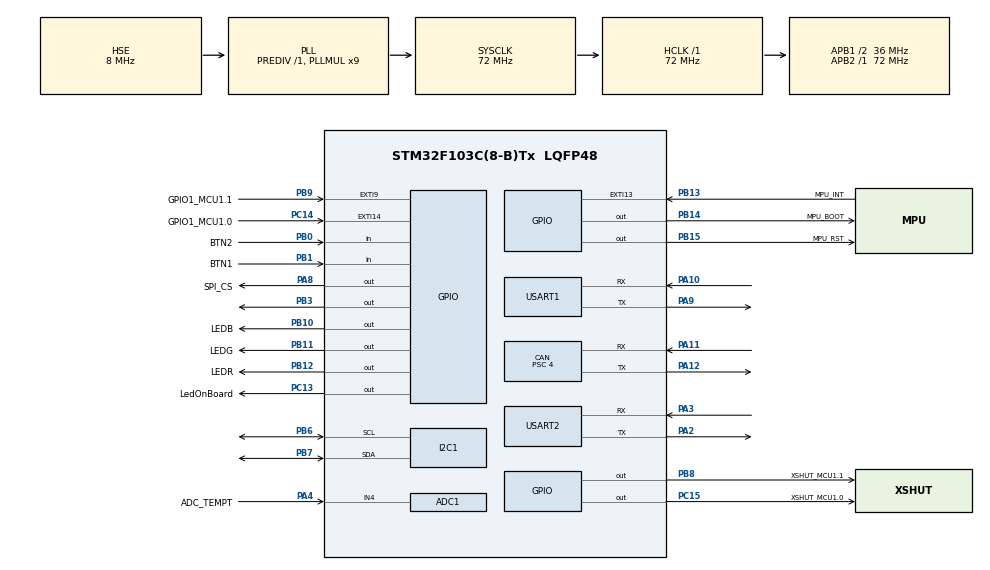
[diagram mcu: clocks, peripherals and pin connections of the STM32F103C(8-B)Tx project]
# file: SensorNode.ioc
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ADC1.Channel-2\#ChannelRegularConversion=ADC_CHANNEL_4
ADC1.NbrOfConversionFlag=1
ADC1.Rank-2\#ChannelRegularConversion=1
ADC1.SamplingTime-2\#ChannelRegularConversion=ADC_SAMPLETIME_1CYCLE_5
ADC1.master=1
CAN.BS1=CAN_BS1_13TQ
CAN.BS2=CAN_BS2_4TQ
CAN.CalculateBaudRate=500000
CAN.CalculateTimeBit=2000
CAN.CalculateTimeQuantum=111.11111111111111
CAN.Prescaler=4
CAN.SJW=CAN_SJW_2TQ
Mcu.Family=STM32F1
Mcu.Name=STM32F103C(8-B)Tx
Mcu.Package=LQFP48
NVIC.CAN1_RX1_IRQn=true\:0\:0\:false\:false\:true\:true\:true\:true
NVIC.PriorityGroup=NVIC_PRIORITYGROUP_4
NVIC.TIM3_IRQn=true\:0\:0\:false\:false\:true\:true\:true\:true
PA10.Mode=Asynchronous
PA10.Signal=USART1_RX
PA11.Mode=CAN_Activate
PA11.Signal=CAN_RX
PA12.Mode=CAN_Activate
PA12.Signal=CAN_TX
PA2.Mode=Asynchronous
PA2.Signal=USART2_TX
PA3.Mode=Asynchronous
PA3.Signal=USART2_RX
PA4.GPIO_Label=ADC_TEMPT
PA4.Signal=SharedAnalog_PA4
PA8.GPIO_Label=SPI_CS
PA8.Signal=GPIO_Output
PA9.Mode=Asynchronous
PA9.Signal=USART1_TX
PB0.GPIO_Label=BTN2
PB0.Signal=GPIO_Input
PB1.GPIO_Label=BTN1
PB1.Signal=GPIO_Input
PB10.GPIO_Label=LEDB
PB10.PinState=GPIO_PIN_SET
PB10.Signal=GPIO_Output
PB11.GPIO_Label=LEDG
PB11.PinState=GPIO_PIN_SET
PB11.Signal=GPIO_Output
PB12.GPIO_Label=LEDR
PB12.PinState=GPIO_PIN_SET
PB12.Signal=GPIO_Output
PB13.GPIO_Label=MPU_INT
PB13.Signal=GPXTI13
PB14.GPIO_Label=MPU_BOOT
PB14.Signal=GPIO_Output
PB15.GPIO_Label=MPU_RST
PB15.Signal=GPIO_Output
PB3.PinState=GPIO_PIN_SET
PB3.Signal=GPIO_Output
PB6.Mode=I2C
PB6.Signal=I2C1_SCL
PB7.Mode=I2C
PB7.Signal=I2C1_SDA
PB8.GPIO_Label=XSHUT_MCU1.1
PB8.PinState=GPIO_PIN_SET
PB8.Signal=GPIO_Output
PB9.GPIO_Label=GPIO1_MCU1.1
PB9.Signal=GPXTI9
PC13-TAMPER-RTC.GPIO_Label=LedOnBoard
PC13-TAMPER-RTC.PinState=GPIO_PIN_SET
PC13-TAMPER-RTC.Signal=GPIO_Output
PC14-OSC32_IN.GPIO_Label=GPIO1_MCU1.0
PC14-OSC32_IN.Signal=GPXTI14
PC15-OSC32_OUT.GPIO_Label=XSHUT_MCU1.0
PC15-OSC32_OUT.PinState=GPIO_PIN_SET
PC15-OSC32_OUT.Signal=GPIO_Output
PD0-OSC_IN.Mode=HSE-External-Oscillator
PD0-OSC_IN.Signal=RCC_OSC_IN
PD1-OSC_OUT.Mode=HSE-External-Oscillator
PD1-OSC_OUT.Signal=RCC_OSC_OUT
ProjectManager.HeapSize=0x200
ProjectManager.StackSize=0x400
ProjectManager.TargetToolchain=STM32CubeIDE
RCC.ADCPresc=RCC_ADCPCLK2_DIV6
RCC.AHBFreq_Value=72000000
RCC.APB1CLKDivider=RCC_HCLK_DIV2
RCC.APB1Freq_Value=36000000
RCC.APB1TimFreq_Value=72000000
RCC.APB2Freq_Value=72000000
RCC.APB2TimFreq_Value=72000000
RCC.HCLKFreq_Value=72000000
RCC.PLLMUL=RCC_PLL_MUL9
RCC.PLLSourceVirtual=RCC_PLLSOURCE_HSE
RCC.SYSCLKFreq_VALUE=72000000
RCC.SYSCLKSource=RCC_SYSCLKSOURCE_PLLCLK
RCC.USBFreq_Value=72000000
SH.SharedAnalog_PA4.0=GPIO_Analog
SH.SharedAnalog_PA4.1=ADC1_IN4,IN4
TIM3.Period=199
TIM3.Prescaler=35999
USART1.VirtualMode=VM_ASYNC
USART2.VirtualMode=VM_ASYNC
VP_TIM3_VS_ClockSourceINT.Mode=Internal
board=custom

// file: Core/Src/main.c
/* USER CODE BEGIN Header */
/**
 ******************************************************************************
 * @file           : main.c
 * @brief          : Main program body
 ******************************************************************************
 * @attention
 *
 * Copyright (c) 2023 STMicroelectronics.
 * All rights reserved.
 *
 * This software is licensed under terms that can be found in the LICENSE file
 * in the root directory of this software component.
 * If no LICENSE file comes with this software, it is provided AS-IS.
 *
 ******************************************************************************
 */
/* USER CODE END Header */
#include "main.h"

/* USER CODE BEGIN Includes */
#include "uart.h"
#include "can_project_sensor.h"
#include "VL53L0X.h"
/* USER CODE END Includes */

/* USER CODE BEGIN PM */
#define VL53L0X
// #define VL6180X_SECOND
/* USER CODE END PM */

ADC_HandleTypeDef hadc1;

CAN_HandleTypeDef hcan;

I2C_HandleTypeDef hi2c1;

TIM_HandleTypeDef htim3;

UART_HandleTypeDef huart1;
UART_HandleTypeDef huart2;

/* USER CODE BEGIN PV */

/* CAN Tx variables */
const uint8_t first_value = 0x01;
const uint8_t second_value = 0x02;
CAN_TxHeaderTypeDef CANTxHeader;
uint8_t CANTxBuffer[] = {0x01, 0x02, 0x00, 0x00, 0x00, 0x00, 0x00, 0x00};
uint32_t CANTxMailboxes = CAN_TX_MAILBOX0;
/* CAN Rx variables */
extern uint8_t CANRxBuffer[];
extern uint8_t CANDiagnosticResponseRcvFlag;
extern CAN_RxHeaderTypeDef CANRxHeader;
CANSensorData CANTxData;
uint8_t last_seq = 0, cur_seq;
uint16_t left_dis = 0, right_dis = 0;
const uint16_t forward_threshold = 1100;
const uint16_t turn_threshold = 600;
const uint16_t diff_LeftRight = 100;
extern uint8_t CANDataRcvFlag;
extern uint32_t timeElapsed;
uint8_t dif = 5;
uint8_t cur_speed = CAN_SPEED_MIN;
uint8_t urgent_out = 0;
uint8_t step = 0;
uint8_t temp = 0;
CONTROL_DIRECTION_2 direction2;
VL53L0X_t lox1;
VL53L0X_t lox2;

void init2Sensor(VL53L0X_t *lox1, VL53L0X_t *lox2, I2C_HandleTypeDef *i2cx);

int timeCountTest = 0;
/* USER CODE END PV */

void SystemClock_Config(void);
static void MX_GPIO_Init(void);
static void MX_ADC1_Init(void);
static void MX_CAN_Init(void);
static void MX_I2C1_Init(void);
static void MX_USART1_UART_Init(void);
static void MX_USART2_UART_Init(void);
static void MX_TIM3_Init(void);

int main(void)
{

  /* MCU Configuration--------------------------------------------------------*/

  /* Reset of all peripherals, Initializes the Flash interface and the Systick. */
  HAL_Init();

  /* Configure the system clock */
  SystemClock_Config();

  /* Initialize all configured peripherals */
  MX_GPIO_Init();
  MX_ADC1_Init();
  MX_CAN_Init();
  MX_I2C1_Init();
  MX_USART1_UART_Init();
  MX_USART2_UART_Init();
  MX_TIM3_Init();
  /* USER CODE BEGIN 2 */
  HAL_TIM_Base_Start_IT(&htim3);
  if (HAL_CAN_Start(&hcan) != HAL_OK)
  {
    Error_Handler();
  }
  HAL_CAN_ActivateNotification(&hcan, CAN_IT_RX_FIFO1_MSG_PENDING);

  printf("Sensor\n");
  // Sensor
  init2Sensor(&lox1, &lox2, &hi2c1);

  // End sensor

  /* USER CODE END 2 */

  /* Infinite loop */
  /* USER CODE BEGIN WHILE */
  while (1)
  {
    left_dis = readRangeSingleMillimeters(&lox2);
    right_dis = readRangeSingleMillimeters(&lox1);
    CANTxData.sequence++;
    CANTxData.priority = CONTROL_PRIOR_NORMAL;
    if (CANDataRcvFlag == 1) // timeout
    {
      CANDataRcvFlag = 0;
      cur_seq = CANRxBuffer[CAN_DATA_SEQ_IDX] << 8 |
                CANRxBuffer[CAN_DATA_SEQ_IDX + 1];
      cur_speed = CANRxBuffer[CAN_ACTUATOR_DATA_SPEED_IDX];
      if (cur_seq == last_seq)
      {
        // do nothing
      }
      else
      {
        HAL_GPIO_TogglePin(GPIO_Port, LEDG_Pin);
        HAL_GPIO_TogglePin(GPIO_Port, LEDB_Pin);
        CANResponseCheck();
        if (urgent_out == 1)
		{
        	if (left_dis <= forward_threshold || right_dis <= forward_threshold)
        	{
        		CANTxData.priority = CONTROL_PRIOR_NORMAL;
				CANTxData.speed = CAN_SPEED_NORMAL;
				CANTxData.direction1 = CONTROL_DIR_BACKWARD;
				CANTxData.direction2 = direction2;
        	}
        	else
        	{
        		urgent_out = 0;
        	}
        	temp = 0;
		}
        else if (left_dis < turn_threshold && right_dis < turn_threshold)
        {
        	if (left_dis < right_dis)
        	{
        		direction2 = CONTROL_DIR_LEFT;
        	}
        	else
        	{
        		direction2 = CONTROL_DIR_RIGHT;
        	}
        	if (cur_speed > CAN_SPEED_MIN)
        	{
				CANTxData.priority = CONTROL_PRIOR_URGENT;
				CANTxData.speed = CAN_SPEED_NORMAL;
				CANTxData.direction1 = CONTROL_DIR_BACKWARD;
        	}
        	else
        	{
        		urgent_out = 1;
        	}
        	temp = 1;
        }
        else if (left_dis >= forward_threshold && right_dis >= forward_threshold) // go Straight
        {
          CANTxData.priority = CONTROL_PRIOR_NORMAL;
          CANTxData.speed = CAN_SPEED_NORMAL;
          CANTxData.direction1 = CONTROL_DIR_FORWARD;
		  CANTxData.direction2 = CONTROL_DIR_STRAIGHT;
      	temp = 2;
        }
        else if (((left_dis - right_dis) > diff_LeftRight) && (right_dis < 900))
        {
          CANTxData.priority = CONTROL_PRIOR_NORMAL;
          CANTxData.speed = CAN_SPEED_NORMAL;
          CANTxData.direction1 = CONTROL_DIR_FORWARD;
		  CANTxData.direction2 = CONTROL_DIR_LEFT;
      	temp = 3;
        }
        else if (((right_dis - left_dis) > diff_LeftRight) && (left_dis < 900))
        {
          CANTxData.priority = CONTROL_PRIOR_NORMAL;
          CANTxData.speed = CAN_SPEED_NORMAL;
          CANTxData.direction1 = CONTROL_DIR_FORWARD;
          CANTxData.direction2 = CONTROL_DIR_RIGHT;
      	temp = 4;
        }
      }
    }
    if (timeCountTest > 200)
    {
      		  printf("\n\nl %d",left_dis);
      		  printf("\nr %d",right_dis);
      		  printf("\nkey %d",temp);
      //		  printf("\nd %d",CANTxData.direction);
    }
    CANSensorTransmit(&hcan, &CANTxData);
    /* USER CODE END WHILE */

  }
}

void SystemClock_Config(void)
{
  RCC_OscInitTypeDef RCC_OscInitStruct = {0};
  RCC_ClkInitTypeDef RCC_ClkInitStruct = {0};
  RCC_PeriphCLKInitTypeDef PeriphClkInit = {0};

  /** Initializes the RCC Oscillators according to the specified parameters
   * in the RCC_OscInitTypeDef structure.
   */
  RCC_OscInitStruct.OscillatorType = RCC_OSCILLATORTYPE_HSE;
  RCC_OscInitStruct.HSEState = RCC_HSE_ON;
  RCC_OscInitStruct.HSEPredivValue = RCC_HSE_PREDIV_DIV1;
  RCC_OscInitStruct.HSIState = RCC_HSI_ON;
  RCC_OscInitStruct.PLL.PLLState = RCC_PLL_ON;
  RCC_OscInitStruct.PLL.PLLSource = RCC_PLLSOURCE_HSE;
  RCC_OscInitStruct.PLL.PLLMUL = RCC_PLL_MUL9;
  if (HAL_RCC_OscConfig(&RCC_OscInitStruct) != HAL_OK)
  {
    Error_Handler();
  }

  /** Initializes the CPU, AHB and APB buses clocks
   */
  RCC_ClkInitStruct.ClockType = RCC_CLOCKTYPE_HCLK | RCC_CLOCKTYPE_SYSCLK | RCC_CLOCKTYPE_PCLK1 | RCC_CLOCKTYPE_PCLK2;
  RCC_ClkInitStruct.SYSCLKSource = RCC_SYSCLKSOURCE_PLLCLK;
  RCC_ClkInitStruct.AHBCLKDivider = RCC_SYSCLK_DIV1;
  RCC_ClkInitStruct.APB1CLKDivider = RCC_HCLK_DIV2;
  RCC_ClkInitStruct.APB2CLKDivider = RCC_HCLK_DIV1;

  if (HAL_RCC_ClockConfig(&RCC_ClkInitStruct, FLASH_LATENCY_2) != HAL_OK)
  {
    Error_Handler();
  }
  PeriphClkInit.PeriphClockSelection = RCC_PERIPHCLK_ADC;
  PeriphClkInit.AdcClockSelection = RCC_ADCPCLK2_DIV6;
  if (HAL_RCCEx_PeriphCLKConfig(&PeriphClkInit) != HAL_OK)
  {
    Error_Handler();
  }
}

static void MX_ADC1_Init(void)
{

  ADC_ChannelConfTypeDef sConfig = {0};

  /** Common config
   */
  hadc1.Instance = ADC1;
  hadc1.Init.ScanConvMode = ADC_SCAN_DISABLE;
  hadc1.Init.ContinuousConvMode = DISABLE;
  hadc1.Init.DiscontinuousConvMode = DISABLE;
  hadc1.Init.ExternalTrigConv = ADC_SOFTWARE_START;
  hadc1.Init.DataAlign = ADC_DATAALIGN_RIGHT;
  hadc1.Init.NbrOfConversion = 1;
  if (HAL_ADC_Init(&hadc1) != HAL_OK)
  {
    Error_Handler();
  }

  /** Configure Regular Channel
   */
  sConfig.Channel = ADC_CHANNEL_4;
  sConfig.Rank = ADC_REGULAR_RANK_1;
  sConfig.SamplingTime = ADC_SAMPLETIME_1CYCLE_5;
  if (HAL_ADC_ConfigChannel(&hadc1, &sConfig) != HAL_OK)
  {
    Error_Handler();
  }
}

static void MX_CAN_Init(void)
{

  hcan.Instance = CAN1;
  hcan.Init.Prescaler = 4;
  hcan.Init.Mode = CAN_MODE_NORMAL;
  hcan.Init.SyncJumpWidth = CAN_SJW_2TQ;
  hcan.Init.TimeSeg1 = CAN_BS1_13TQ;
  hcan.Init.TimeSeg2 = CAN_BS2_4TQ;
  hcan.Init.TimeTriggeredMode = DISABLE;
  hcan.Init.AutoBusOff = DISABLE;
  hcan.Init.AutoWakeUp = DISABLE;
  hcan.Init.AutoRetransmission = DISABLE;
  hcan.Init.ReceiveFifoLocked = DISABLE;
  hcan.Init.TransmitFifoPriority = DISABLE;
  if (HAL_CAN_Init(&hcan) != HAL_OK)
  {
    Error_Handler();
  }
  /* USER CODE BEGIN CAN_Init 2 */
  CAN_FilterTypeDef canfilterconfig;

  canfilterconfig.FilterActivation = CAN_FILTER_ENABLE;
  canfilterconfig.FilterBank = 12; // which filter bank to use from the assigned ones
  canfilterconfig.FilterFIFOAssignment = CAN_FILTER_FIFO1;
  canfilterconfig.FilterIdHigh = CAN_PROJECT_ACTUATOR_STDID << 5;
  canfilterconfig.FilterIdLow = 0;
  canfilterconfig.FilterMaskIdHigh = CAN_PROJECT_ACTUATOR_STDID << 5;
  canfilterconfig.FilterMaskIdLow = 0x0000;
  canfilterconfig.FilterMode = CAN_FILTERMODE_IDMASK;
  canfilterconfig.FilterScale = CAN_FILTERSCALE_32BIT;
  canfilterconfig.SlaveStartFilterBank = 13; // how many filters to assign to the CAN1 (master can)

  HAL_CAN_ConfigFilter(&hcan, &canfilterconfig);
  /* USER CODE END CAN_Init 2 */
}

static void MX_I2C1_Init(void)
{

  hi2c1.Instance = I2C1;
  hi2c1.Init.ClockSpeed = 100000;
  hi2c1.Init.DutyCycle = I2C_DUTYCYCLE_2;
  hi2c1.Init.OwnAddress1 = 0;
  hi2c1.Init.AddressingMode = I2C_ADDRESSINGMODE_7BIT;
  hi2c1.Init.DualAddressMode = I2C_DUALADDRESS_DISABLE;
  hi2c1.Init.OwnAddress2 = 0;
  hi2c1.Init.GeneralCallMode = I2C_GENERALCALL_DISABLE;
  hi2c1.Init.NoStretchMode = I2C_NOSTRETCH_DISABLE;
  if (HAL_I2C_Init(&hi2c1) != HAL_OK)
  {
    Error_Handler();
  }
}

static void MX_TIM3_Init(void)
{

  TIM_ClockConfigTypeDef sClockSourceConfig = {0};
  TIM_MasterConfigTypeDef sMasterConfig = {0};

  htim3.Instance = TIM3;
  htim3.Init.Prescaler = 35999;
  htim3.Init.CounterMode = TIM_COUNTERMODE_UP;
  htim3.Init.Period = 199;
  htim3.Init.ClockDivision = TIM_CLOCKDIVISION_DIV1;
  htim3.Init.AutoReloadPreload = TIM_AUTORELOAD_PRELOAD_DISABLE;
  if (HAL_TIM_Base_Init(&htim3) != HAL_OK)
  {
    Error_Handler();
  }
  sClockSourceConfig.ClockSource = TIM_CLOCKSOURCE_INTERNAL;
  if (HAL_TIM_ConfigClockSource(&htim3, &sClockSourceConfig) != HAL_OK)
  {
    Error_Handler();
  }
  sMasterConfig.MasterOutputTrigger = TIM_TRGO_RESET;
  sMasterConfig.MasterSlaveMode = TIM_MASTERSLAVEMODE_DISABLE;
  if (HAL_TIMEx_MasterConfigSynchronization(&htim3, &sMasterConfig) != HAL_OK)
  {
    Error_Handler();
  }
}

static void MX_USART1_UART_Init(void)
{

  huart1.Instance = USART1;
  huart1.Init.BaudRate = 115200;
  huart1.Init.WordLength = UART_WORDLENGTH_8B;
  huart1.Init.StopBits = UART_STOPBITS_1;
  huart1.Init.Parity = UART_PARITY_NONE;
  huart1.Init.Mode = UART_MODE_TX_RX;
  huart1.Init.HwFlowCtl = UART_HWCONTROL_NONE;
  huart1.Init.OverSampling = UART_OVERSAMPLING_16;
  if (HAL_UART_Init(&huart1) != HAL_OK)
  {
    Error_Handler();
  }
}

static void MX_USART2_UART_Init(void)
{

  huart2.Instance = USART2;
  huart2.Init.BaudRate = 115200;
  huart2.Init.WordLength = UART_WORDLENGTH_8B;
  huart2.Init.StopBits = UART_STOPBITS_1;
  huart2.Init.Parity = UART_PARITY_NONE;
  huart2.Init.Mode = UART_MODE_TX_RX;
  huart2.Init.HwFlowCtl = UART_HWCONTROL_NONE;
  huart2.Init.OverSampling = UART_OVERSAMPLING_16;
  if (HAL_UART_Init(&huart2) != HAL_OK)
  {
    Error_Handler();
  }
}

static void MX_GPIO_Init(void)
{
  GPIO_InitTypeDef GPIO_InitStruct = {0};

  /* GPIO Ports Clock Enable */
  __HAL_RCC_GPIOC_CLK_ENABLE();
  __HAL_RCC_GPIOD_CLK_ENABLE();
  __HAL_RCC_GPIOA_CLK_ENABLE();
  __HAL_RCC_GPIOB_CLK_ENABLE();

  /*Configure GPIO pin Output Level */
  HAL_GPIO_WritePin(GPIOC, LedOnBoard_Pin | XSHUT_MCU1_0_Pin, GPIO_PIN_SET);

  /*Configure GPIO pin Output Level */
  HAL_GPIO_WritePin(GPIOB, LEDB_Pin | LEDG_Pin | LEDR_Pin | GPIO_PIN_3 | XSHUT_MCU1_1_Pin, GPIO_PIN_SET);

  /*Configure GPIO pin Output Level */
  HAL_GPIO_WritePin(GPIOB, MPU_BOOT_Pin | MPU_RST_Pin, GPIO_PIN_RESET);

  /*Configure GPIO pin Output Level */
  HAL_GPIO_WritePin(SPI_CS_GPIO_Port, SPI_CS_Pin, GPIO_PIN_RESET);

  /*Configure GPIO pins : LedOnBoard_Pin XSHUT_MCU1_0_Pin */
  GPIO_InitStruct.Pin = LedOnBoard_Pin | XSHUT_MCU1_0_Pin;
  GPIO_InitStruct.Mode = GPIO_MODE_OUTPUT_PP;
  GPIO_InitStruct.Pull = GPIO_NOPULL;
  GPIO_InitStruct.Speed = GPIO_SPEED_FREQ_LOW;
  HAL_GPIO_Init(GPIOC, &GPIO_InitStruct);

  /*Configure GPIO pin : GPIO1_MCU1_0_Pin */
  GPIO_InitStruct.Pin = GPIO1_MCU1_0_Pin;
  GPIO_InitStruct.Mode = GPIO_MODE_IT_RISING;
  GPIO_InitStruct.Pull = GPIO_NOPULL;
  HAL_GPIO_Init(GPIO1_MCU1_0_GPIO_Port, &GPIO_InitStruct);

  /*Configure GPIO pins : BTN2_Pin BTN1_Pin */
  GPIO_InitStruct.Pin = BTN2_Pin | BTN1_Pin;
  GPIO_InitStruct.Mode = GPIO_MODE_INPUT;
  GPIO_InitStruct.Pull = GPIO_NOPULL;
  HAL_GPIO_Init(GPIOB, &GPIO_InitStruct);

  /*Configure GPIO pins : LEDB_Pin LEDG_Pin LEDR_Pin MPU_BOOT_Pin
                           MPU_RST_Pin PB3 XSHUT_MCU1_1_Pin */
  GPIO_InitStruct.Pin = LEDB_Pin | LEDG_Pin | LEDR_Pin | MPU_BOOT_Pin | MPU_RST_Pin | GPIO_PIN_3 | XSHUT_MCU1_1_Pin;
  GPIO_InitStruct.Mode = GPIO_MODE_OUTPUT_PP;
  GPIO_InitStruct.Pull = GPIO_NOPULL;
  GPIO_InitStruct.Speed = GPIO_SPEED_FREQ_LOW;
  HAL_GPIO_Init(GPIOB, &GPIO_InitStruct);

  /*Configure GPIO pins : MPU_INT_Pin GPIO1_MCU1_1_Pin */
  GPIO_InitStruct.Pin = MPU_INT_Pin | GPIO1_MCU1_1_Pin;
  GPIO_InitStruct.Mode = GPIO_MODE_IT_RISING;
  GPIO_InitStruct.Pull = GPIO_NOPULL;
  HAL_GPIO_Init(GPIOB, &GPIO_InitStruct);

  /*Configure GPIO pin : SPI_CS_Pin */
  GPIO_InitStruct.Pin = SPI_CS_Pin;
  GPIO_InitStruct.Mode = GPIO_MODE_OUTPUT_PP;
  GPIO_InitStruct.Pull = GPIO_NOPULL;
  GPIO_InitStruct.Speed = GPIO_SPEED_FREQ_LOW;
  HAL_GPIO_Init(SPI_CS_GPIO_Port, &GPIO_InitStruct);

}

/* USER CODE BEGIN 4 */
void init2Sensor(VL53L0X_t *lox1, VL53L0X_t *lox2, I2C_HandleTypeDef *i2cx)
{

  // Reset sensor
  lox1->Address = ADDRESS_DEFAULT;
  lox2->Address = ADDRESS_DEFAULT;
  HAL_GPIO_WritePin(GPIOC, GPIO_PIN_15, 0);
  HAL_GPIO_WritePin(GPIOB, GPIO_PIN_8, 0);
  HAL_Delay(20);

  HAL_GPIO_WritePin(GPIOB, GPIO_PIN_8, 1);
  HAL_GPIO_WritePin(GPIOC, GPIO_PIN_15, 1);
  HAL_Delay(20);

  // init first sensor
  HAL_GPIO_WritePin(GPIOB, GPIO_PIN_8, 0);
  HAL_GPIO_WritePin(GPIOC, GPIO_PIN_15, 1);
  HAL_Delay(20);
  while (!initVL53L0X(1, lox1, i2cx))
  {
    HAL_GPIO_WritePin(LEDR_GPIO_Port, LEDR_Pin, 0); // on led
    printf("Failed 1!\n");
  }
  setAddress(0x50, lox1);

  while (!initVL53L0X(1, lox1, i2cx))
  {
    HAL_GPIO_WritePin(LEDR_GPIO_Port, LEDR_Pin, 0); // on led
    printf("Failed 2!\n");
  }

  // init second sensor
  HAL_GPIO_WritePin(GPIOB, GPIO_PIN_8, 1);
  HAL_Delay(20);

  while (!initVL53L0X(1, lox2, i2cx))
  {
    HAL_GPIO_WritePin(LEDR_GPIO_Port, LEDR_Pin, 0); // on led
    printf("Failed 3!\n");
  }
  setAddress(0x42, lox2);

  while (!initVL53L0X(1, lox2, i2cx))
  {
    HAL_GPIO_WritePin(LEDR_GPIO_Port, LEDR_Pin, 0); // on led
    printf("Failed 4!\n");
  }

  // turn on 2 sensor
  HAL_GPIO_WritePin(GPIOB, GPIO_PIN_8, 1);
  HAL_GPIO_WritePin(GPIOC, GPIO_PIN_15, 1);
  HAL_Delay(20);
  HAL_GPIO_WritePin(LEDR_GPIO_Port, LEDR_Pin, 1); // off led
}
/* USER CODE END 4 */

void Error_Handler(void)
{
  /* USER CODE BEGIN Error_Handler_Debug */
  /* User can add his own implementation to report the HAL error return state */
  __disable_irq();
  while (1)
  {
    HAL_GPIO_TogglePin(LEDG_GPIO_Port, LEDG_Pin);
    HAL_Delay(200);
  }
  /* USER CODE END Error_Handler_Debug */
}
